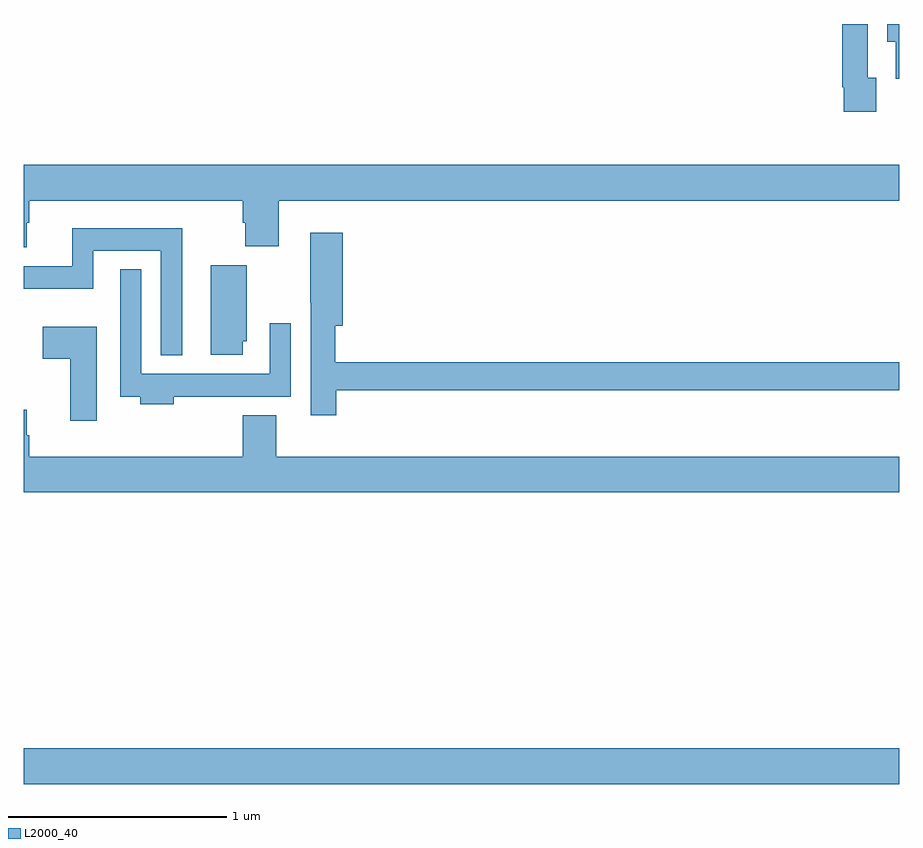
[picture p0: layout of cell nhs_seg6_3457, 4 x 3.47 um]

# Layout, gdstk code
import gdstk
lib = gdstk.Library(unit=1e-6, precision=1e-09)
def R(c, l, rs):  # rectangles x0, y0, x1, y1
    for r in rs: c.add(gdstk.rectangle(r[:2], r[2:], *l))
def P(c, l, *ps):  # polygons
    for p in ps: c.add(gdstk.Polygon(p, *l))
L2000_40 = (2000, 40)

nhs_seg6_3457 = lib.new_cell('nhs_seg6_3457')
R(nhs_seg6_3457, L2000_40, [(315,922.028,319,922.192)])
P(nhs_seg6_3457, L2000_40, [(319,925.5),(318.944,925.5),(318.944,925.418),(318.983,925.418),(318.983,925.25),(319,925.25)],
  [(318.895,925.254),(318.855,925.254),(318.855,925.5),(318.739,925.5),(318.739,925.21),(318.747,925.21),(318.747,925.098),(318.895,925.098)],
  [(315.013,924.591),(315.026,924.591),(315.026,924.692),(316.001,924.692),(316.001,924.593),(316.013,924.593),(316.013,924.484),(316.166,924.484),(316.166,924.692),(319,924.692),(319,924.856),(315,924.856),(315,924.479),(315.013,924.479)],
  [(315.724,924.568),(315.221,924.568),(315.221,924.394),(315,924.394),(315,924.29),(315.318,924.29),(315.318,924.464),(315.627,924.464),(315.627,923.987),(315.724,923.987)],
  [(316.427,923.826),(319,923.826),(319,923.954),(316.423,923.954),(316.423,924.122),(316.457,924.122),(316.457,924.547),(316.31,924.547),(316.31,924.226),(316.311,924.226),(316.311,923.712),(316.427,923.712)],
  [(316,924.051),(316.018,924.051),(316.018,924.399),(315.854,924.399),(315.854,923.988),(316,923.988)],
  [(315.686,923.796),(315.917,923.796),(315.917,923.798),(316.221,923.798),(316.221,924.133),(316.125,924.133),(316.125,923.902),(315.537,923.902),(315.537,924.379),(315.441,924.379),(315.441,923.796),(315.533,923.796),(315.533,923.762),(315.686,923.762)],
  [(315.334,924.118),(315.087,924.118),(315.087,923.971),(315.212,923.971),(315.212,923.688),(315.334,923.688)],
  [(319,923.524),(316.153,923.524),(316.153,923.713),(316.001,923.713),(316.001,923.524),(315.026,923.524),(315.026,923.622),(315.013,923.622),(315.013,923.737),(315,923.737),(315,923.36),(319,923.36)])

lib.write_gds('nhs_seg6_3457.gds')
